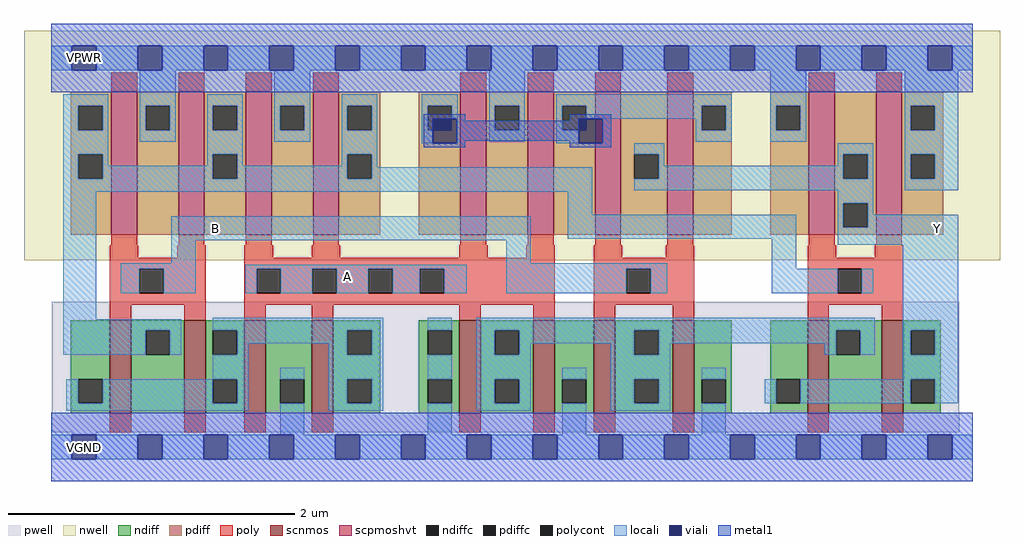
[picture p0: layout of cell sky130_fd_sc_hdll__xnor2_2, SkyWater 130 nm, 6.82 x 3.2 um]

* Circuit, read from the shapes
.subckt sky130_fd_sc_hdll__xnor2_2 A B VGND VNB VPB VPWR Y
XM1 n1 B n2 VNB sky130_fd_pr__nfet_01v8 w=0.65 l=0.15 m=2
XM2 VGND A n2 VNB sky130_fd_pr__nfet_01v8 w=0.65 l=0.15 m=2
XM3 n3 A VGND VNB sky130_fd_pr__nfet_01v8 w=0.65 l=0.15 m=2
XM4 n3 B VGND VNB sky130_fd_pr__nfet_01v8 w=0.65 l=0.15 m=2
XM5 n3 n1 Y VNB sky130_fd_pr__nfet_01v8 w=0.65 l=0.15 m=2
XM6 VPWR B n1 VPB sky130_fd_pr__pfet_01v8_hvt w=1 l=0.18 m=2
XM7 VPWR A n1 VPB sky130_fd_pr__pfet_01v8_hvt w=1 l=0.18 m=2
XM8 VPWR A n4 VPB sky130_fd_pr__pfet_01v8_hvt w=1 l=0.18 m=2
XM9 Y B n4 VPB sky130_fd_pr__pfet_01v8_hvt w=1 l=0.18 m=2
XM10 Y n1 VPWR VPB sky130_fd_pr__pfet_01v8_hvt w=1 l=0.18 m=2
.ends

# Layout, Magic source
magic
tech sky130A
magscale 1 2
<< nwell >>
rect -38 261 1326 582
<< pwell >>
rect 1 21 1269 203
rect 29 -17 63 21
<< scnmos >>
rect 82 47 112 177
rect 186 47 216 177
rect 270 47 300 177
rect 364 47 394 177
rect 570 47 600 177
rect 674 47 704 177
rect 758 47 788 177
rect 869 47 899 177
rect 1057 47 1087 177
rect 1161 47 1191 177
<< scpmoshvt >>
rect 84 297 120 497
rect 178 297 214 497
rect 272 297 308 497
rect 366 297 402 497
rect 572 297 608 497
rect 666 297 702 497
rect 760 297 796 497
rect 861 297 897 497
rect 1059 297 1095 497
rect 1153 297 1189 497
<< ndiff >>
rect 27 95 82 177
rect 27 61 38 95
rect 72 61 82 95
rect 27 47 82 61
rect 112 163 186 177
rect 112 129 132 163
rect 166 129 186 163
rect 112 47 186 129
rect 216 163 270 177
rect 216 129 226 163
rect 260 129 270 163
rect 216 95 270 129
rect 216 61 226 95
rect 260 61 270 95
rect 216 47 270 61
rect 300 95 364 177
rect 300 61 320 95
rect 354 61 364 95
rect 300 47 364 61
rect 394 163 460 177
rect 394 129 414 163
rect 448 129 460 163
rect 394 95 460 129
rect 394 61 414 95
rect 448 61 460 95
rect 394 47 460 61
rect 514 163 570 177
rect 514 129 526 163
rect 560 129 570 163
rect 514 95 570 129
rect 514 61 526 95
rect 560 61 570 95
rect 514 47 570 61
rect 600 163 674 177
rect 600 129 620 163
rect 654 129 674 163
rect 600 95 674 129
rect 600 61 620 95
rect 654 61 674 95
rect 600 47 674 61
rect 704 95 758 177
rect 704 61 714 95
rect 748 61 758 95
rect 704 47 758 61
rect 788 163 869 177
rect 788 129 815 163
rect 849 129 869 163
rect 788 95 869 129
rect 788 61 815 95
rect 849 61 869 95
rect 788 47 869 61
rect 899 95 951 177
rect 899 61 909 95
rect 943 61 951 95
rect 899 47 951 61
rect 1005 95 1057 177
rect 1005 61 1013 95
rect 1047 61 1057 95
rect 1005 47 1057 61
rect 1087 163 1161 177
rect 1087 129 1097 163
rect 1131 129 1161 163
rect 1087 47 1161 129
rect 1191 163 1243 177
rect 1191 129 1201 163
rect 1235 129 1243 163
rect 1191 95 1243 129
rect 1191 61 1201 95
rect 1235 61 1243 95
rect 1191 47 1243 61
<< pdiff >>
rect 27 477 84 497
rect 27 443 38 477
rect 72 443 84 477
rect 27 409 84 443
rect 27 375 38 409
rect 72 375 84 409
rect 27 297 84 375
rect 120 477 178 497
rect 120 443 132 477
rect 166 443 178 477
rect 120 297 178 443
rect 214 477 272 497
rect 214 443 226 477
rect 260 443 272 477
rect 214 409 272 443
rect 214 375 226 409
rect 260 375 272 409
rect 214 297 272 375
rect 308 477 366 497
rect 308 443 320 477
rect 354 443 366 477
rect 308 297 366 443
rect 402 477 460 497
rect 402 443 414 477
rect 448 443 460 477
rect 402 409 460 443
rect 402 375 414 409
rect 448 375 460 409
rect 402 297 460 375
rect 514 477 572 497
rect 514 443 526 477
rect 560 443 572 477
rect 514 297 572 443
rect 608 477 666 497
rect 608 443 620 477
rect 654 443 666 477
rect 608 297 666 443
rect 702 477 760 497
rect 702 443 714 477
rect 748 443 760 477
rect 702 297 760 443
rect 796 409 861 497
rect 796 375 815 409
rect 849 375 861 409
rect 796 297 861 375
rect 897 477 951 497
rect 897 443 909 477
rect 943 443 951 477
rect 897 297 951 443
rect 1005 477 1059 497
rect 1005 443 1013 477
rect 1047 443 1059 477
rect 1005 297 1059 443
rect 1095 409 1153 497
rect 1095 375 1107 409
rect 1141 375 1153 409
rect 1095 341 1153 375
rect 1095 307 1107 341
rect 1141 307 1153 341
rect 1095 297 1153 307
rect 1189 477 1247 497
rect 1189 443 1201 477
rect 1235 443 1247 477
rect 1189 409 1247 443
rect 1189 375 1201 409
rect 1235 375 1247 409
rect 1189 297 1247 375
<< ndiffc >>
rect 38 61 72 95
rect 132 129 166 163
rect 226 129 260 163
rect 226 61 260 95
rect 320 61 354 95
rect 414 129 448 163
rect 414 61 448 95
rect 526 129 560 163
rect 526 61 560 95
rect 620 129 654 163
rect 620 61 654 95
rect 714 61 748 95
rect 815 129 849 163
rect 815 61 849 95
rect 909 61 943 95
rect 1013 61 1047 95
rect 1097 129 1131 163
rect 1201 129 1235 163
rect 1201 61 1235 95
<< pdiffc >>
rect 38 443 72 477
rect 38 375 72 409
rect 132 443 166 477
rect 226 443 260 477
rect 226 375 260 409
rect 320 443 354 477
rect 414 443 448 477
rect 414 375 448 409
rect 526 443 560 477
rect 620 443 654 477
rect 714 443 748 477
rect 815 375 849 409
rect 909 443 943 477
rect 1013 443 1047 477
rect 1107 375 1141 409
rect 1107 307 1141 341
rect 1201 443 1235 477
rect 1201 375 1235 409
<< poly >>
rect 84 497 120 523
rect 178 497 214 523
rect 272 497 308 523
rect 366 497 402 523
rect 572 497 608 523
rect 666 497 702 523
rect 760 497 796 523
rect 861 497 897 523
rect 1059 497 1095 523
rect 1153 497 1189 523
rect 84 282 120 297
rect 178 282 214 297
rect 272 282 308 297
rect 366 282 402 297
rect 572 282 608 297
rect 666 282 702 297
rect 760 282 796 297
rect 861 282 897 297
rect 1059 282 1095 297
rect 1153 282 1189 297
rect 82 265 122 282
rect 176 265 216 282
rect 82 249 216 265
rect 82 215 123 249
rect 157 215 216 249
rect 82 199 216 215
rect 82 177 112 199
rect 186 177 216 199
rect 270 265 310 282
rect 364 265 404 282
rect 570 265 610 282
rect 664 265 704 282
rect 270 249 704 265
rect 270 215 287 249
rect 321 215 365 249
rect 399 215 443 249
rect 477 215 515 249
rect 549 215 704 249
rect 270 199 704 215
rect 270 177 300 199
rect 364 177 394 199
rect 570 177 600 199
rect 674 177 704 199
rect 758 265 798 282
rect 859 265 899 282
rect 758 249 899 265
rect 758 215 804 249
rect 838 215 899 249
rect 758 199 899 215
rect 758 177 788 199
rect 869 177 899 199
rect 1057 265 1097 282
rect 1151 265 1191 282
rect 1057 249 1191 265
rect 1057 215 1099 249
rect 1133 215 1191 249
rect 1057 199 1191 215
rect 1057 177 1087 199
rect 1161 177 1191 199
rect 82 21 112 47
rect 186 21 216 47
rect 270 21 300 47
rect 364 21 394 47
rect 570 21 600 47
rect 674 21 704 47
rect 758 21 788 47
rect 869 21 899 47
rect 1057 21 1087 47
rect 1161 21 1191 47
<< polycont >>
rect 123 215 157 249
rect 287 215 321 249
rect 365 215 399 249
rect 443 215 477 249
rect 515 215 549 249
rect 804 215 838 249
rect 1099 215 1133 249
<< locali >>
rect 0 527 29 561
rect 63 527 121 561
rect 155 527 213 561
rect 247 527 305 561
rect 339 527 397 561
rect 431 527 489 561
rect 523 527 581 561
rect 615 527 673 561
rect 707 527 765 561
rect 799 527 857 561
rect 891 527 949 561
rect 983 527 1041 561
rect 1075 527 1133 561
rect 1167 527 1225 561
rect 1259 527 1288 561
rect 17 477 80 493
rect 17 443 38 477
rect 72 443 80 477
rect 17 409 80 443
rect 124 477 174 527
rect 124 443 132 477
rect 166 443 174 477
rect 124 427 174 443
rect 218 477 268 493
rect 218 443 226 477
rect 260 443 268 477
rect 17 375 38 409
rect 72 393 80 409
rect 218 409 268 443
rect 312 477 362 527
rect 312 443 320 477
rect 354 443 362 477
rect 312 427 362 443
rect 406 477 456 493
rect 406 443 414 477
rect 448 443 456 477
rect 218 393 226 409
rect 72 375 226 393
rect 260 393 268 409
rect 406 409 456 443
rect 518 477 568 493
rect 518 443 526 477
rect 560 459 568 477
rect 518 425 533 443
rect 567 425 568 459
rect 612 477 662 527
rect 612 443 620 477
rect 654 443 662 477
rect 612 427 662 443
rect 706 477 951 493
rect 706 443 714 477
rect 748 459 909 477
rect 706 425 737 443
rect 901 443 909 459
rect 943 443 951 477
rect 901 427 951 443
rect 1005 477 1055 527
rect 1005 443 1013 477
rect 1047 443 1055 477
rect 1005 427 1055 443
rect 1193 477 1268 527
rect 1193 443 1201 477
rect 1235 443 1268 477
rect 406 393 414 409
rect 260 375 414 393
rect 448 391 456 409
rect 815 409 857 425
rect 448 375 756 391
rect 17 357 756 375
rect 849 393 857 409
rect 1099 409 1149 425
rect 1099 393 1107 409
rect 849 375 1107 393
rect 1141 375 1149 409
rect 815 359 1149 375
rect 1193 409 1268 443
rect 1193 375 1201 409
rect 1235 375 1268 409
rect 1193 359 1268 375
rect 17 179 63 357
rect 722 325 756 357
rect 1099 341 1149 359
rect 168 289 670 323
rect 722 291 1041 325
rect 168 257 202 289
rect 97 249 202 257
rect 636 257 670 289
rect 97 215 123 249
rect 157 215 202 249
rect 271 249 581 255
rect 271 215 287 249
rect 321 215 365 249
rect 399 215 443 249
rect 477 215 515 249
rect 549 215 581 249
rect 636 249 861 257
rect 636 215 804 249
rect 838 215 861 249
rect 1007 249 1041 291
rect 1099 307 1107 341
rect 1141 325 1149 341
rect 1141 307 1268 325
rect 1099 283 1268 307
rect 1007 215 1099 249
rect 1133 215 1149 249
rect 17 163 182 179
rect 17 129 132 163
rect 166 129 182 163
rect 226 163 464 181
rect 260 145 414 163
rect 260 129 276 145
rect 226 95 276 129
rect 388 129 414 145
rect 448 129 464 163
rect 21 61 38 95
rect 72 61 226 95
rect 260 61 276 95
rect 21 51 276 61
rect 320 95 354 111
rect 320 17 354 61
rect 388 95 464 129
rect 388 61 414 95
rect 448 61 464 95
rect 388 51 464 61
rect 526 163 560 181
rect 526 95 560 129
rect 526 17 560 61
rect 594 163 1151 181
rect 594 129 620 163
rect 654 145 815 163
rect 654 129 670 145
rect 594 95 670 129
rect 782 129 815 145
rect 849 145 1097 163
rect 849 129 865 145
rect 1081 129 1097 145
rect 1131 129 1151 163
rect 1190 163 1268 283
rect 1190 129 1201 163
rect 1235 129 1268 163
rect 594 61 620 95
rect 654 61 670 95
rect 594 51 670 61
rect 714 95 748 111
rect 714 17 748 61
rect 782 95 865 129
rect 782 61 815 95
rect 849 61 865 95
rect 782 51 865 61
rect 909 95 943 111
rect 1190 95 1268 129
rect 997 61 1013 95
rect 1047 61 1201 95
rect 1235 61 1268 95
rect 909 17 943 61
rect 0 -17 29 17
rect 63 -17 121 17
rect 155 -17 213 17
rect 247 -17 305 17
rect 339 -17 397 17
rect 431 -17 489 17
rect 523 -17 581 17
rect 615 -17 673 17
rect 707 -17 765 17
rect 799 -17 857 17
rect 891 -17 949 17
rect 983 -17 1041 17
rect 1075 -17 1133 17
rect 1167 -17 1225 17
rect 1259 -17 1288 17
<< viali >>
rect 29 527 63 561
rect 121 527 155 561
rect 213 527 247 561
rect 305 527 339 561
rect 397 527 431 561
rect 489 527 523 561
rect 581 527 615 561
rect 673 527 707 561
rect 765 527 799 561
rect 857 527 891 561
rect 949 527 983 561
rect 1041 527 1075 561
rect 1133 527 1167 561
rect 1225 527 1259 561
rect 533 443 560 459
rect 560 443 567 459
rect 533 425 567 443
rect 737 443 748 459
rect 748 443 771 459
rect 737 425 771 443
rect 29 -17 63 17
rect 121 -17 155 17
rect 213 -17 247 17
rect 305 -17 339 17
rect 397 -17 431 17
rect 489 -17 523 17
rect 581 -17 615 17
rect 673 -17 707 17
rect 765 -17 799 17
rect 857 -17 891 17
rect 949 -17 983 17
rect 1041 -17 1075 17
rect 1133 -17 1167 17
rect 1225 -17 1259 17
<< metal1 >>
rect 0 561 1288 592
rect 0 527 29 561
rect 63 527 121 561
rect 155 527 213 561
rect 247 527 305 561
rect 339 527 397 561
rect 431 527 489 561
rect 523 527 581 561
rect 615 527 673 561
rect 707 527 765 561
rect 799 527 857 561
rect 891 527 949 561
rect 983 527 1041 561
rect 1075 527 1133 561
rect 1167 527 1225 561
rect 1259 527 1288 561
rect 0 496 1288 527
rect 521 459 579 465
rect 521 425 533 459
rect 567 456 579 459
rect 725 459 783 465
rect 725 456 737 459
rect 567 428 737 456
rect 567 425 579 428
rect 521 419 579 425
rect 725 425 737 428
rect 771 425 783 459
rect 725 419 783 425
rect 0 17 1288 48
rect 0 -17 29 17
rect 63 -17 121 17
rect 155 -17 213 17
rect 247 -17 305 17
rect 339 -17 397 17
rect 431 -17 489 17
rect 523 -17 581 17
rect 615 -17 673 17
rect 707 -17 765 17
rect 799 -17 857 17
rect 891 -17 949 17
rect 983 -17 1041 17
rect 1075 -17 1133 17
rect 1167 -17 1225 17
rect 1259 -17 1288 17
rect 0 -48 1288 -17
<< labels >>
flabel metal1 s 29 -17 63 17 0 FreeSans 200 0 0 0 VGND
port 3 nsew ground bidirectional
flabel metal1 s 29 527 63 561 0 FreeSans 200 0 0 0 VPWR
port 6 nsew power bidirectional
flabel locali s 1222 289 1256 323 0 FreeSans 400 0 0 0 Y
port 7 nsew signal output
flabel locali s 397 221 431 255 0 FreeSans 400 0 0 0 A
port 1 nsew signal input
flabel locali s 212 289 246 323 0 FreeSans 400 0 0 0 B
port 2 nsew signal input
flabel nwell s 29 527 63 561 0 FreeSans 200 0 0 0 VPB
port 5 nsew power bidirectional
flabel pwell s 29 -17 63 17 0 FreeSans 200 0 0 0 VNB
port 4 nsew ground bidirectional
rlabel comment s 0 0 0 0 4 xnor2_2
<< properties >>
string LEFsite unithd
string LEFclass CORE
string FIXED_BBOX 0 0 1288 544
string GDS_FILE $PDKPATH/libs.ref/sky130_fd_sc_hdll/gds/sky130_fd_sc_hdll.gds
string LEFsymmetry X Y R90
string GDS_END 2944664
string GDS_START 2935504
string LEFproperties maskLayoutSubType "abstract" prCellType "standard" originalViewName "layout"
<< end >>
